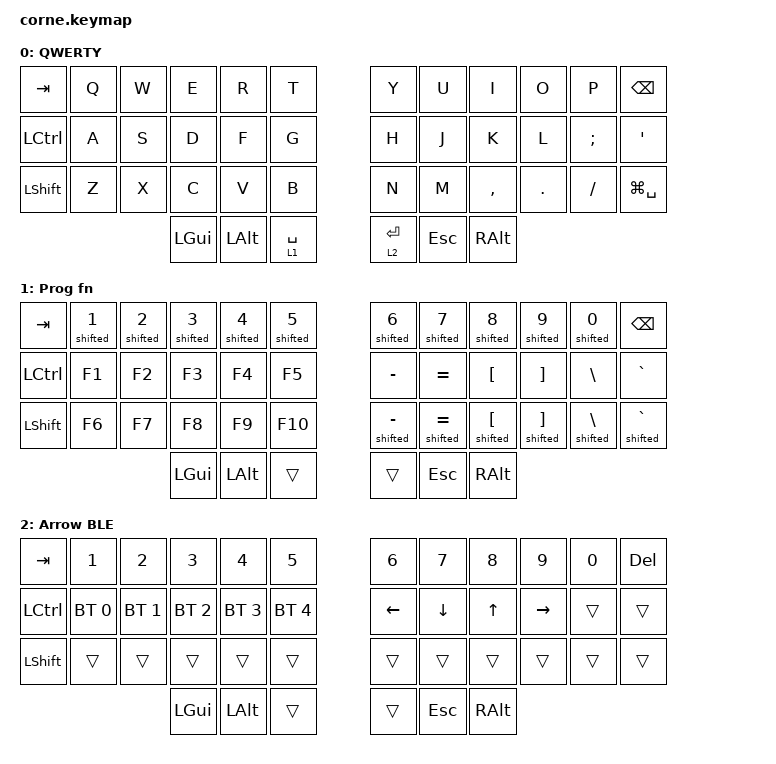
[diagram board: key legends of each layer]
/*
* Copyright (c) 2020 The ZMK Contributors
*
* SPDX-License-Identifier: MIT
*/
#include <behaviors.dtsi>
#include <dt-bindings/zmk/keys.h>
#include <dt-bindings/zmk/bt.h>

&nice_view_spi {
        cs-gpios = <&pro_micro 8 GPIO_ACTIVE_HIGH>;
};

/ {
        macros {
                shifted: shifted {
                        compatible = "zmk,behavior-macro-one-param";
                        #binding-cells = <1>;
                        wait-ms = <20>;
                        tap-ms = <20>;
                        bindings
                                = <&macro_press &kp LSHFT>
                                , <&macro_param_1to1>
                                , <&macro_tap &kp MACRO_PLACEHOLDER>
                                , <&macro_release &kp LSHFT>;
                };
        };

        keymap {
                compatible = "zmk,keymap";

                default_layer {
                        display-name = "QWERTY";
                                // -----------------------------------------------------------------------------------------
                                // |  TAB |  Q  |  W  |  E  |  R   |     T     |   |    Y     |  U   |  I  |  O  |  P  |     BKSP      |
                                // | CTRL |  A  |  S  |  D  |  F   |     G     |   |    H     |  J   |  K  |  L  |  ;  |      '        |
                                // | SHFT |  Z  |  X  |  C  |  V   |     B     |   |    N     |  M   |  ,  |  .  |  /  | WIN + SPACE   |
                                //                    | GUI | LALT |  LT 1 SPC |   | LT 2 ENT | ESC  | ALT |
                        bindings = <
                                &kp TAB   &kp Q &kp W &kp E &kp R &kp T   &kp Y &kp U  &kp I     &kp O   &kp P    &kp BSPC
                                &kp LCTRL &kp A &kp S &kp D &kp F &kp G   &kp H &kp J  &kp K     &kp L   &kp SEMI &kp SQT
                                &kp LSHFT &kp Z &kp X &kp C &kp V &kp B   &kp N &kp M  &kp COMMA &kp DOT &kp FSLH &kp LG(SPACE)
                                                &kp LGUI &kp LALT &lt 1 SPACE   &lt 2 RET &kp ESC &kp RALT
                        >;
                };

                lower_layer {
                        display-name = "Prog fn";
                                // -----------------------------------------------------------------------------------------
                                // |  TAB |  !  |  @  |  #  |  $  |  %  |   |  ^  |  &  |  *  |  (  |  )  | BSPC |
                                // | CTRL | F1  | F2  | F3  | F4  | F5  |   |  -  |  =  |  [  |  ]  |  \  |  `   |
                                // | SHFT | F6  | F7  | F8  | F9  | F10 |   |  _  |  +  |  {  |  }  | "|" |  ~   |
                                //                    | GUI |     | SPC |   | ENT |     | ALT |
                        bindings = <
                                &kp TAB   &shifted N1 &shifted N2 &shifted N3 &shifted N4 &shifted N5   &shifted N6    &shifted N7     &shifted N8     &shifted N9      &shifted N0      &kp BSPC
                                &kp LCTRL &kp F1      &kp F2      &kp F3      &kp F4      &kp F5        &kp MINUS      &kp EQUAL       &kp LBKT        &kp RBKT         &kp BSLH         &kp GRAVE
                                &kp LSHFT &kp F6      &kp F7      &kp F8      &kp F9      &kp F10       &shifted MINUS &shifted EQUAL  &shifted LBKT   &shifted RBKT    &shifted BSLH    &shifted GRAVE
                                                                  &kp LGUI    &kp LALT    &trans        &trans         &kp ESC         &kp RALT
                        >;
                };

                raise_layer {
                        display-name = "Arrow BLE";
                        // -----------------------------------------------------------------------------------------
                        // |  TAB |  1  |  2  |  3  |  4  |  5  |   |  6  |  7  |  8  |  9  |  0  | DEL |
                        // | CTRL| BT1 | BT2 | BT3 | BT4 | BT5 |   | LFT | DWN |  UP | RGT |     |      |
                        // | SHFT |     |     |     |     |     |   |     |     |     |     |     |      |
                        //                    | GUI | LALT|     |   |     | ESC | ALT |
                        bindings = <
                                &kp TAB    &kp N1       &kp N2       &kp N3       &kp N4       &kp N5         &kp N6   &kp N7   &kp N8 &kp N9    &kp N0 &kp DEL
                                &kp LCTRL &bt BT_SEL 0 &bt BT_SEL 1 &bt BT_SEL 2 &bt BT_SEL 3 &bt BT_SEL 4   &kp LEFT &kp DOWN &kp UP &kp RIGHT &trans &trans
                                &kp LSHFT  &trans       &trans       &trans       &trans       &trans         &trans   &trans   &trans &trans    &trans &trans
                                                 &kp LGUI  &kp LALT &trans   &trans  &kp ESC   &kp RALT
                        >;
                };
        };
};
